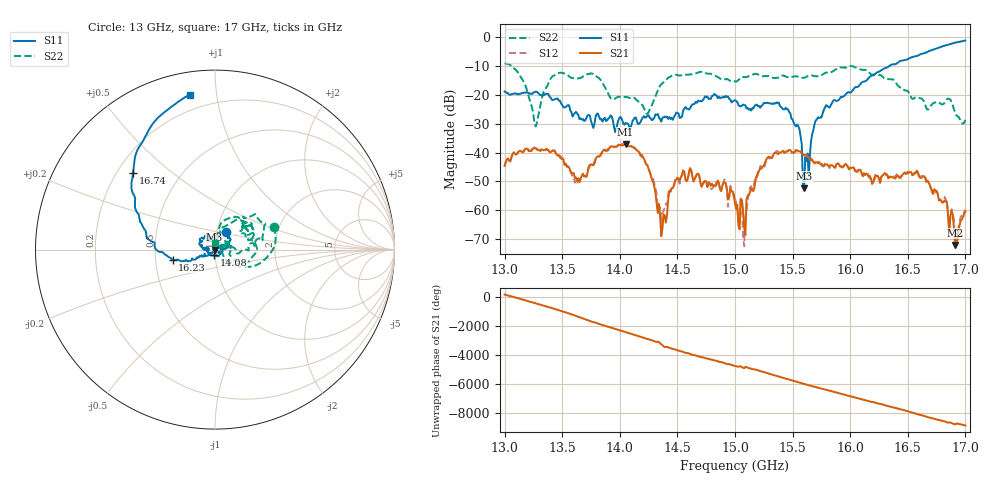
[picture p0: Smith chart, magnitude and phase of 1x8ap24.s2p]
!Keysight Technologies,P9374A,MY57211807,A.19.30.04
!Date: Friday, May 08, 2026 14:34:38
!Correction: S11(C  2-Port  )
!S21(C  2-Port  )
!S12(C  2-Port  )
!S22(C  2-Port  )
!S2P File: Measurements: S11, S21, S12, S22:
# Hz S  dB  R 50
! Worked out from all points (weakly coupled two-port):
!   401 points, 13 GHz to 17 GHz, reference 50 ohm
!   highest |S21| = -37.08 dB at 14.05 GHz (marker M1); lowest = -71.9 dB at 16.91 GHz (marker M2)
!   lowest |S11| = -52.4 dB at 15.6 GHz (marker M3), VSWR 1.00, Z = 49.8 - j0.0433 ohm
!   |S11| at or under -10 dB: start of sweep to 16.34 GHz
!   |S22| runs from -31.0 to -9.1 dB; largest |S21 - S12| = 0.0012
!   S11 on the Smith chart (normalised r, x): 13 GHz: 1.11, +0.22; 14.08 GHz: 0.99, -0.06; 16.23 GHz: 0.61, -0.07; 16.74 GHz: 0.27, +0.37; 17 GHz: 0.11, +0.84
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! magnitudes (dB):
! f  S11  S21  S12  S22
! 13 GHz  -18.8  -44.5  -44.9  -9.1
! 13.16 GHz  -19.4  -39.8  -40.1  -15.1
! 13.27 GHz  -18.9  -38.6  -38.4  -31.0
! 13.42 GHz  -21.8  -39.4  -39.2  -13.5
! 13.67 GHz  -28.6  -48.0  -48.4  -14.0
! 14.05 GHz  -29.8  -37.1  -37.0  -20.7
! 14.08 GHz  -30.9  -37.8  -37.6  -21.1
! 14.23 GHz  -27.7  -44.1  -44.3  -26.5
! 14.34 GHz  -27.9  -57.8  -58.1  -17.6
! 14.61 GHz  -24.6  -45.4  -45.6  -12.9
! 15 GHz  -21.9  -57.7  -55.6  -15.3
! 15.09 GHz  -23.6  -68.5  -62.2  -13.9
! 15.21 GHz  -23.9  -46.3  -46.0  -13.2
! 15.46 GHz  -25.0  -39.4  -39.4  -13.9
! 15.56 GHz  -31.9  -39.6  -39.8  -13.8
! 15.6 GHz  -52.4  -40.9  -40.7  -14.1
! 15.67 GHz  -33.7  -42.5  -42.8  -13.3
! 16.23 GHz  -12.3  -48.2  -47.7  -13.2
! 16.34 GHz  -10.0  -48.4  -48.4  -14.5
! 16.74 GHz  -4.1  -53.1  -53.8  -22.6
! 16.91 GHz  -1.9  -71.9  -70.6  -26.1
! 17 GHz  -1.2  -60.5  -59.7  -28.7
